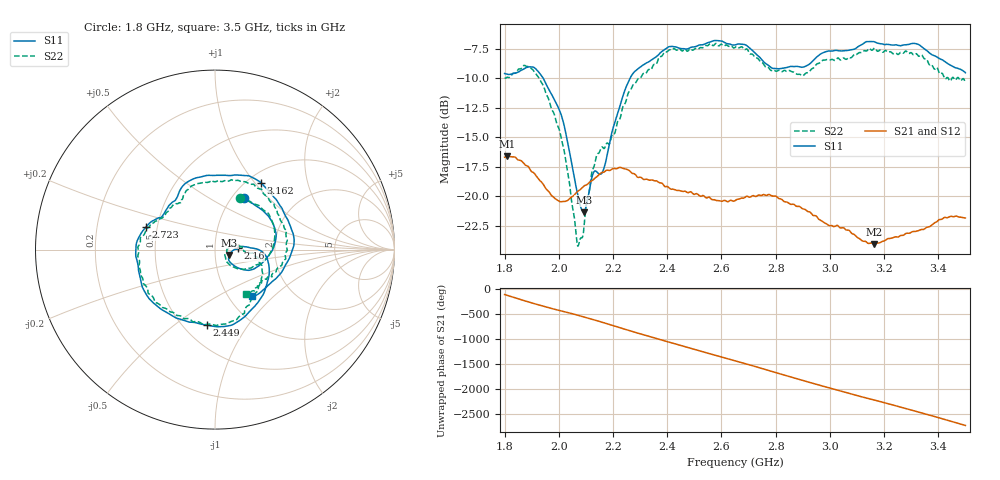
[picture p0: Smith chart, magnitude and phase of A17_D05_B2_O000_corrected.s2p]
! Created with skrf 1.9.0 (http://scikit-rf.org).
# Hz S RI R 50.0
!freq ReS11 ImS11 ReS21 ImS21 ReS12 ImS12 ReS22 ImS22
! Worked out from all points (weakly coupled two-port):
!   1601 points, 1.8 GHz to 3.5 GHz, reference 50 ohm
!   highest |S21| = -16.60 dB at 1.811 GHz (marker M1); lowest = -24.0 dB at 3.162 GHz (marker M2)
!   lowest |S11| = -21.3 dB at 2.092 GHz (marker M3), VSWR 1.19, Z = 58.6 - j3.55 ohm
!   |S11| at or under -10 dB: 1.943 GHz to 2.263 GHz (319.9 MHz wide, 15.2 % of centre)
!   |S22| runs from -24.2 to -7.0 dB; largest |S21 - S12| = 0.0027
!   S11 on the Smith chart (normalised r, x): 1.8 GHz: 1.13, +0.74; 2.16 GHz: 1.29, +0.02; 2.449 GHz: 0.65, -0.66; 2.723 GHz: 0.43, +0.13; 3.162 GHz: 1.15, +1.08; 3.5 GHz: 1.28, -0.75
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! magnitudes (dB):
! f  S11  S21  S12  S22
! 1.8 GHz  -9.6  -16.7  -16.7  -10.0
! 1.811 GHz  -9.7  -16.6  -16.6  -9.9
! 1.88 GHz  -9.1  -17.4  -17.4  -9.0
! 1.941 GHz  -9.9  -18.9  -18.9  -10.6
! 2.011 GHz  -13.3  -20.5  -20.4  -15.3
! 2.067 GHz  -19.5  -19.6  -19.6  -23.9
! 2.084 GHz  -21.1  -19.3  -19.3  -23.5
! 2.092 GHz  -21.3  -19.1  -19.2  -22.8
! 2.126 GHz  -18.1  -18.6  -18.6  -17.7
! 2.16 GHz  -18.0  -18.0  -17.9  -15.8
! 2.203 GHz  -14.0  -17.6  -17.7  -14.7
! 2.259 GHz  -10.2  -17.8  -17.8  -11.1
! 2.367 GHz  -8.0  -18.8  -18.7  -8.3
! 2.449 GHz  -7.5  -19.5  -19.5  -7.5
! 2.65 GHz  -7.2  -20.4  -20.3  -7.4
! 2.723 GHz  -7.8  -20.0  -19.9  -8.2
! 2.796 GHz  -9.2  -20.0  -20.0  -9.3
! 2.934 GHz  -8.6  -21.5  -21.5  -9.2
! 3.162 GHz  -6.9  -24.0  -24.0  -7.5
! 3.217 GHz  -7.1  -23.6  -23.6  -7.8
! 3.323 GHz  -7.1  -22.9  -22.9  -8.0
! 3.5 GHz  -9.5  -21.8  -21.8  -10.3
